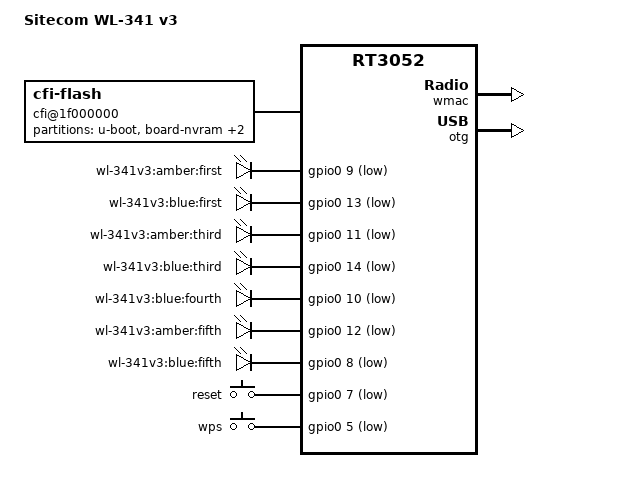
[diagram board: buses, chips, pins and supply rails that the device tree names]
/dts-v1/;

#include "rt3050.dtsi"

#include <dt-bindings/gpio/gpio.h>
#include <dt-bindings/input/input.h>

/ {
	compatible = "sitecom,wl-341-v3", "ralink,rt3052-soc";
	model = "Sitecom WL-341 v3";

	cfi@1f000000 {
		compatible = "cfi-flash";
		reg = <0x1f000000 0x800000>;
		bank-width = <2>;
		device-width = <2>;
		#address-cells = <1>;
		#size-cells = <1>;

		partition@0 {
			label = "u-boot";
			reg = <0x0 0x20000>;
			read-only;
		};

		boardnvram: partition@20000 {
			label = "board-nvram";
			reg = <0x20000 0x10000>;
			read-only;
		};

		partition@30000 {
			label = "u-boot-env";
			reg = <0x30000 0x10000>;
			read-only;
		};

		partition@40000 {
			label = "firmware";
			reg = <0x40000 0x3b0000>;
		};
	};

	gpio-leds {
		compatible = "gpio-leds";

		first {
			label = "wl-341v3:amber:first";
			gpios = <&gpio0 9 GPIO_ACTIVE_LOW>;
		};

		first2 {
			label = "wl-341v3:blue:first";
			gpios = <&gpio0 13 GPIO_ACTIVE_LOW>;
		};

		third {
			label = "wl-341v3:amber:third";
			gpios = <&gpio0 11 GPIO_ACTIVE_LOW>;
		};

		third2 {
			label = "wl-341v3:blue:third";
			gpios = <&gpio0 14 GPIO_ACTIVE_LOW>;
		};

		fourth {
			label = "wl-341v3:blue:fourth";
			gpios = <&gpio0 10 GPIO_ACTIVE_LOW>;
		};

		fifth {
			label = "wl-341v3:amber:fifth";
			gpios = <&gpio0 12 GPIO_ACTIVE_LOW>;
		};

		fifth2 {
			label = "wl-341v3:blue:fifth";
			gpios = <&gpio0 8 GPIO_ACTIVE_LOW>;
		};
	};

	gpio-keys-polled {
		compatible = "gpio-keys-polled";
		#address-cells = <1>;
		#size-cells = <0>;
		poll-interval = <20>;

		reset {
			label = "reset";
			gpios = <&gpio0 7 GPIO_ACTIVE_LOW>;
			linux,code = <KEY_RESTART>;
		};

		wps {
			label = "wps";
			gpios = <&gpio0 5 GPIO_ACTIVE_LOW>;
			linux,code = <KEY_WPS_BUTTON>;
		};
	};
};

&pinctrl {
	state_default: pinctrl0 {
		gpio {
			ralink,group = "i2c", "jtag", "rgmii", "mdio", "uartf";
			ralink,function = "gpio";
		};
	};
};

&ethernet {
	mtd-mac-address = <&boardnvram 0xffa0>;
};

&esw {
	mediatek,portmap = <0x3e>;
};

&wmac {
	ralink,mtd-eeprom = <&boardnvram 0xfd70>;
};

&otg {
	status = "okay";
};
